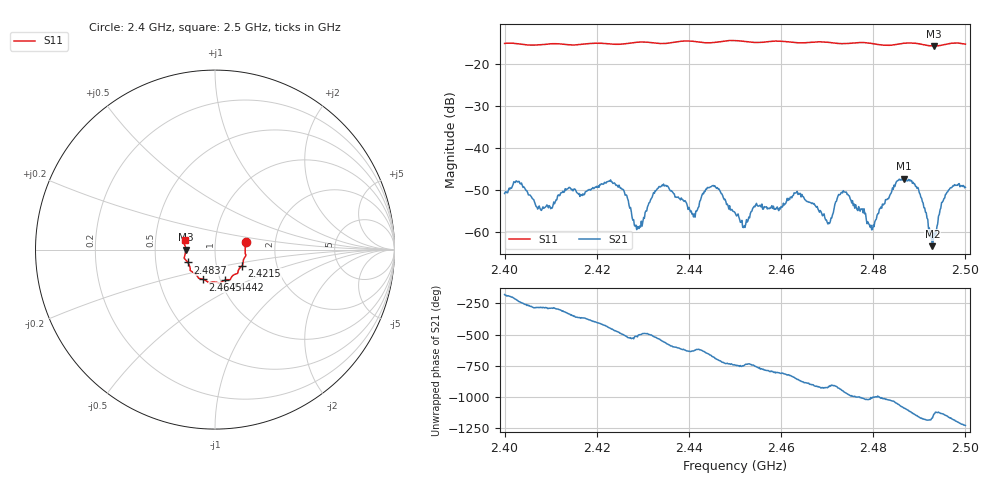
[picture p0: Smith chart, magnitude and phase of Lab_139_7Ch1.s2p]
# Hz S RI R 50
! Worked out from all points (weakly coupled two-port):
!   601 points, 2.4 GHz to 2.5 GHz, reference 50 ohm
!   highest |S21| = -47.35 dB at 2.4867 GHz (marker M1); lowest = -63.5 dB at 2.4928 GHz (marker M2)
!   lowest |S11| = -15.7 dB at 2.4932 GHz (marker M3), VSWR 1.39, Z = 35.9 - j0.0512 ohm
!   |S11| at or under -10 dB: start of sweep to end of sweep
!   S12 and S22 are empty: the file has one direction only
!   S11 on the Smith chart (normalised r, x): 2.4 GHz: 1.41, +0.12; 2.4215 GHz: 1.33, -0.25; 2.4442 GHz: 1.05, -0.37; 2.4645 GHz: 0.83, -0.29; 2.4837 GHz: 0.73, -0.11; 2.5 GHz: 0.71, +0.07
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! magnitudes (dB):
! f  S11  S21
! 2.4 GHz  -15.1  -50.9
! 2.4167 GHz  -15.3  -51.3
! 2.4215 GHz  -15.1  -48.7
! 2.4253 GHz  -15.3  -49.7
! 2.429 GHz  -14.8  -58.9
! 2.4333 GHz  -15.1  -49.7
! 2.4408 GHz  -14.6  -55.7
! 2.4442 GHz  -15.0  -49.5
! 2.45 GHz  -14.4  -55.5
! 2.4645 GHz  -15.0  -51.1
! 2.4667 GHz  -14.8  -53.3
! 2.4702 GHz  -14.8  -58.2
! 2.474 GHz  -15.1  -50.6
! 2.4797 GHz  -15.1  -59.6
! 2.4833 GHz  -15.6  -52.2
! 2.4837 GHz  -15.5  -51.2
! 2.4867 GHz  -15.1  -47.4
! 2.4898 GHz  -15.2  -49.9
! 2.4928 GHz  -15.7  -63.5
! 2.4932 GHz  -15.7  -60.3
! 2.4962 GHz  -15.2  -50.5
! 2.5 GHz  -15.3  -49.4
